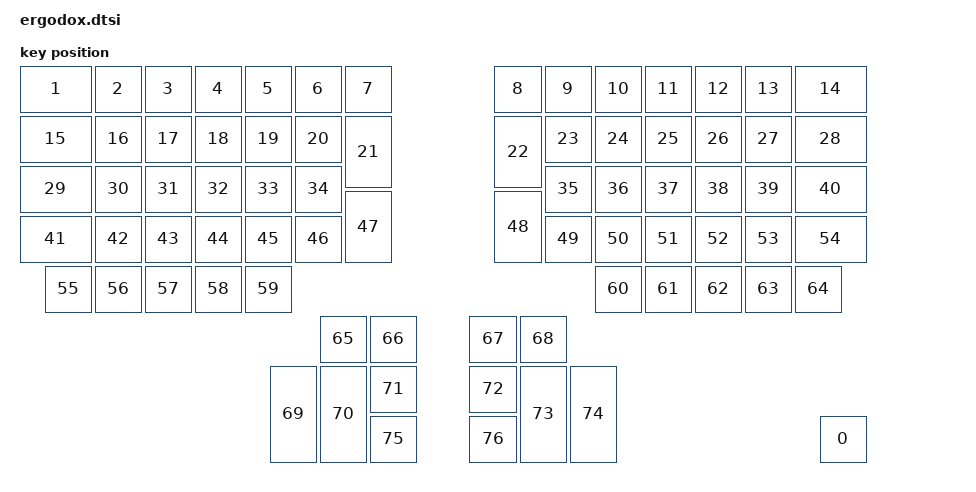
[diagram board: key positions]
#include <physical_layouts.dtsi>

/ {
    layout_ergodox: layout_ergodox {
        compatible = "zmk,physical-layout";
        display-name = "ErgoDox";

        keys  //                     w   h    x    y     rot    rx    ry
            = <&key_physical_attrs 100 100 1600  700       0     0     0>
            , <&key_physical_attrs 150 100    0    0       0     0     0>
            , <&key_physical_attrs 100 100  150    0       0     0     0>
            , <&key_physical_attrs 100 100  250    0       0     0     0>
            , <&key_physical_attrs 100 100  350    0       0     0     0>
            , <&key_physical_attrs 100 100  450    0       0     0     0>
            , <&key_physical_attrs 100 100  550    0       0     0     0>
            , <&key_physical_attrs 100 100  650    0       0     0     0>
            , <&key_physical_attrs 100 100  950    0       0     0     0>
            , <&key_physical_attrs 100 100 1050    0       0     0     0>
            , <&key_physical_attrs 100 100 1150    0       0     0     0>
            , <&key_physical_attrs 100 100 1250    0       0     0     0>
            , <&key_physical_attrs 100 100 1350    0       0     0     0>
            , <&key_physical_attrs 100 100 1450    0       0     0     0>
            , <&key_physical_attrs 150 100 1550    0       0     0     0>
            , <&key_physical_attrs 150 100    0  100       0     0     0>
            , <&key_physical_attrs 100 100  150  100       0     0     0>
            , <&key_physical_attrs 100 100  250  100       0     0     0>
            , <&key_physical_attrs 100 100  350  100       0     0     0>
            , <&key_physical_attrs 100 100  450  100       0     0     0>
            , <&key_physical_attrs 100 100  550  100       0     0     0>
            , <&key_physical_attrs 100 150  650  100       0     0     0>
            , <&key_physical_attrs 100 150  950  100       0     0     0>
            , <&key_physical_attrs 100 100 1050  100       0     0     0>
            , <&key_physical_attrs 100 100 1150  100       0     0     0>
            , <&key_physical_attrs 100 100 1250  100       0     0     0>
            , <&key_physical_attrs 100 100 1350  100       0     0     0>
            , <&key_physical_attrs 100 100 1450  100       0     0     0>
            , <&key_physical_attrs 150 100 1550  100       0     0     0>
            , <&key_physical_attrs 150 100    0  200       0     0     0>
            , <&key_physical_attrs 100 100  150  200       0     0     0>
            , <&key_physical_attrs 100 100  250  200       0     0     0>
            , <&key_physical_attrs 100 100  350  200       0     0     0>
            , <&key_physical_attrs 100 100  450  200       0     0     0>
            , <&key_physical_attrs 100 100  550  200       0     0     0>
            , <&key_physical_attrs 100 100 1050  200       0     0     0>
            , <&key_physical_attrs 100 100 1150  200       0     0     0>
            , <&key_physical_attrs 100 100 1250  200       0     0     0>
            , <&key_physical_attrs 100 100 1350  200       0     0     0>
            , <&key_physical_attrs 100 100 1450  200       0     0     0>
            , <&key_physical_attrs 150 100 1550  200       0     0     0>
            , <&key_physical_attrs 150 100    0  300       0     0     0>
            , <&key_physical_attrs 100 100  150  300       0     0     0>
            , <&key_physical_attrs 100 100  250  300       0     0     0>
            , <&key_physical_attrs 100 100  350  300       0     0     0>
            , <&key_physical_attrs 100 100  450  300       0     0     0>
            , <&key_physical_attrs 100 100  550  300       0     0     0>
            , <&key_physical_attrs 100 150  650  250       0     0     0>
            , <&key_physical_attrs 100 150  950  250       0     0     0>
            , <&key_physical_attrs 100 100 1050  300       0     0     0>
            , <&key_physical_attrs 100 100 1150  300       0     0     0>
            , <&key_physical_attrs 100 100 1250  300       0     0     0>
            , <&key_physical_attrs 100 100 1350  300       0     0     0>
            , <&key_physical_attrs 100 100 1450  300       0     0     0>
            , <&key_physical_attrs 150 100 1550  300       0     0     0>
            , <&key_physical_attrs 100 100   50  400       0     0     0>
            , <&key_physical_attrs 100 100  150  400       0     0     0>
            , <&key_physical_attrs 100 100  250  400       0     0     0>
            , <&key_physical_attrs 100 100  350  400       0     0     0>
            , <&key_physical_attrs 100 100  450  400       0     0     0>
            , <&key_physical_attrs 100 100 1150  400       0     0     0>
            , <&key_physical_attrs 100 100 1250  400       0     0     0>
            , <&key_physical_attrs 100 100 1350  400       0     0     0>
            , <&key_physical_attrs 100 100 1450  400       0     0     0>
            , <&key_physical_attrs 100 100 1550  400       0     0     0>
            , <&key_physical_attrs 100 100  600  500       0     0     0>
            , <&key_physical_attrs 100 100  700  500       0     0     0>
            , <&key_physical_attrs 100 100  900  500       0     0     0>
            , <&key_physical_attrs 100 100 1000  500       0     0     0>
            , <&key_physical_attrs 100 200  500  600       0     0     0>
            , <&key_physical_attrs 100 200  600  600       0     0     0>
            , <&key_physical_attrs 100 100  700  600       0     0     0>
            , <&key_physical_attrs 100 100  900  600       0     0     0>
            , <&key_physical_attrs 100 200 1000  600       0     0     0>
            , <&key_physical_attrs 100 200 1100  600       0     0     0>
            , <&key_physical_attrs 100 100  700  700       0     0     0>
            , <&key_physical_attrs 100 100  900  700       0     0     0>
            ;
    };
};
